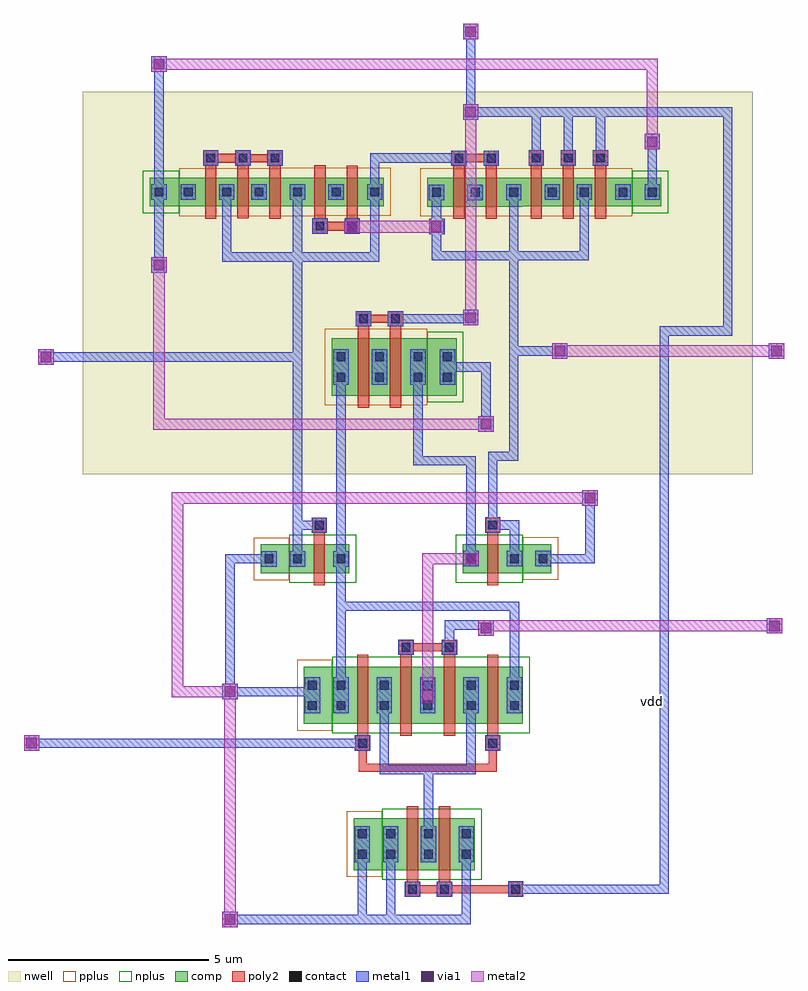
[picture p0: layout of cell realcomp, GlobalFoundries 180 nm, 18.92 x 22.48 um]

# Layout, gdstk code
from math import pi, radians
import gdstk
lib = gdstk.Library(unit=1e-6, precision=5e-09)
def R(c, l, rs):  # rectangles x0, y0, x1, y1
    for r in rs: c.add(gdstk.rectangle(r[:2], r[2:], *l))
def A(c, l, x, y, w, h, nx, ny, dx, dy):  # array of equal rectangles
    R(c, l, [(x+i*dx, y+j*dy, x+i*dx+w, y+j*dy+h) for i in range(nx) for j in range(ny)])
nwell = (21, 0)
comp = (22, 0)
poly2 = (30, 0)
pplus = (31, 0)
nplus = (32, 0)
contact = (33, 0)
metal1 = (34, 0)
via1 = (35, 0)
metal2 = (36, 0)

pfet = lib.new_cell('pfet')
R(pfet, nwell, [(-0.9,-0.44,2.36,1.155)])
R(pfet, comp, [(-0.46,0,0,0.715), (0,0,1.46,0.715), (1.46,0,1.92,0.715)])
R(pfet, poly2, [(0.14,-0.68,0.52,-0.3), (0.94,-0.68,1.32,-0.3), (0.19,-0.3,0.47,1.015), (0.99,-0.3,1.27,1.01)])
R(pfet, pplus, [(-0.63,-0.24,2.09,0.955)])
A(pfet, contact, -0.34, 0.245, 0.22, 0.22, 3, 1, 0.96, 0)
R(pfet, contact, [(0.22,-0.6,0.44,-0.38), (1.02,-0.6,1.24,-0.38)])
A(pfet, metal1, -0.42, 0.165, 0.38, 0.385, 3, 1, 0.96, 0)
R(pfet, metal1, [(0.14,-0.68,0.52,-0.3), (0.94,-0.68,1.32,-0.3)])

nfet_4 = lib.new_cell('nfet$4')
R(nfet_4, comp, [(-0.42,0,0,0.715), (0,0,0.66,0.715), (0.66,0,1.08,0.715), (1.08,0,1.79,0.715)])
R(nfet_4, poly2, [(0.15,-0.66,0.51,-0.3), (0.19,-0.3,0.47,1.015)])
R(nfet_4, pplus, [(1.08,-0.17,1.96,0.885)])
R(nfet_4, nplus, [(-0.59,-0.24,1.08,0.955)])
R(nfet_4, contact, [(0.22,-0.59,0.44,-0.37), (-0.32,0.245,-0.1,0.465), (0.76,0.245,0.98,0.465), (1.47,0.245,1.69,0.465)])
R(nfet_4, metal1, [(0.14,-0.67,0.52,-0.29), (-0.4,0.165,-0.02,0.55), (0.68,0.165,1.06,0.55), (1.39,0.165,1.77,0.55)])

nfet = lib.new_cell('nfet')
R(nfet, comp, [(-0.42,0,0,1.425), (0,0,0.66,1.425), (0.66,0,1.08,1.425)])
R(nfet, poly2, [(0.15,-0.66,0.51,-0.3), (0.19,-0.3,0.47,1.725)])
R(nfet, nplus, [(-0.59,-0.24,1.25,1.665)])
R(nfet, contact, [(0.22,-0.59,0.44,-0.37), (-0.32,0.35,-0.1,0.57), (0.76,0.35,0.98,0.57), (-0.32,0.86,-0.1,1.08), (0.76,0.86,0.98,1.08)])
R(nfet, metal1, [(0.14,-0.67,0.52,-0.29), (-0.4,0.27,-0.02,1.16), (0.68,0.27,1.06,1.16)])

nfet_9 = lib.new_cell('nfet$9')
R(nfet_9, comp, [(-0.42,0,0,0.715), (0,0,0.66,0.715), (0.66,0,1.08,0.715), (1.08,0,1.79,0.715)])
R(nfet_9, poly2, [(0.19,-0.3,0.47,1.015), (0.15,1.015,0.51,1.375)])
R(nfet_9, pplus, [(1.08,-0.17,1.96,0.885)])
R(nfet_9, nplus, [(-0.59,-0.24,1.08,0.955)])
R(nfet_9, contact, [(-0.32,0.245,-0.1,0.465), (0.76,0.245,0.98,0.465), (1.47,0.245,1.69,0.465), (0.22,1.085,0.44,1.305)])
R(nfet_9, metal1, [(-0.4,0.165,-0.02,0.55), (0.68,0.165,1.06,0.55), (1.39,0.165,1.77,0.55), (0.14,1,0.52,1.385)])

nfet_6 = lib.new_cell('nfet$6')
R(nfet_6, comp, [(-0.42,0,0,1.425), (0,0,0.66,1.425), (0.66,0,1.08,1.425), (1.08,0,1.79,1.425)])
R(nfet_6, poly2, [(0.19,-0.3,0.47,1.725), (0.15,1.725,0.51,2.085)])
R(nfet_6, pplus, [(1.08,-0.17,1.96,1.595)])
R(nfet_6, nplus, [(-0.59,-0.24,1.08,1.665)])
R(nfet_6, contact, [(-0.32,0.35,-0.1,0.57), (0.76,0.35,0.98,0.57), (1.47,0.35,1.69,0.57), (-0.32,0.86,-0.1,1.08), (0.76,0.86,0.98,1.08), (1.47,0.86,1.69,1.08), (0.22,1.795,0.44,2.015)])
R(nfet_6, metal1, [(-0.4,0.27,-0.02,1.16), (0.68,0.27,1.06,1.16), (1.39,0.27,1.77,1.16), (0.14,1.715,0.52,2.095)])

nfet_1 = lib.new_cell('nfet$1')
R(nfet_1, comp, [(-0.42,0,0,1.425), (0,0,0.66,1.425), (0.66,0,1.08,1.425)])
R(nfet_1, poly2, [(0.19,-0.3,0.47,1.725), (0.15,1.725,0.51,2.085)])
R(nfet_1, nplus, [(-0.59,-0.24,1.25,1.665)])
R(nfet_1, contact, [(-0.32,0.35,-0.1,0.57), (0.76,0.35,0.98,0.57), (-0.32,0.86,-0.1,1.08), (0.76,0.86,0.98,1.08), (0.22,1.795,0.44,2.015)])
R(nfet_1, metal1, [(-0.4,0.27,-0.02,1.16), (0.68,0.27,1.06,1.16), (0.14,1.715,0.52,2.095)])

nfet_7 = lib.new_cell('nfet$7')
R(nfet_7, comp, [(-0.42,0,0,1.29), (0,0,1.46,1.29), (1.46,0,1.88,1.29), (1.88,0,2.59,1.29)])
R(nfet_7, poly2, [(0.19,-0.3,0.47,1.59), (0.99,-0.3,1.27,1.59), (0.15,1.59,0.51,1.95), (0.95,1.59,1.31,1.95)])
R(nfet_7, pplus, [(1.88,-0.17,2.76,1.46)])
R(nfet_7, nplus, [(-0.59,-0.24,1.88,1.53)])
A(nfet_7, contact, -0.32, 0.28, 0.22, 0.22, 3, 2, 0.94, 0.51)
R(nfet_7, contact, [(2.27,0.28,2.49,0.5), (2.27,0.79,2.49,1.01), (0.22,1.66,0.44,1.88), (1.02,1.66,1.24,1.88)])
A(nfet_7, metal1, -0.4, 0.2, 0.38, 0.89, 3, 1, 0.94, 0)
R(nfet_7, metal1, [(2.19,0.2,2.57,1.09), (0.14,1.575,0.52,1.96), (0.94,1.575,1.32,1.96)])

pfet_3 = lib.new_cell('pfet$3')
R(pfet_3, nwell, [(-1.15,-0.69,3.34,2.115)])
R(pfet_3, comp, [(-0.46,0,0,1.425), (0,0,1.46,1.425), (1.46,0,1.92,1.425), (1.92,0,2.65,1.425)])
R(pfet_3, poly2, [(0.19,-0.3,0.47,1.725), (0.99,-0.3,1.27,1.725), (0.14,1.725,0.52,2.105), (0.94,1.725,1.32,2.105)])
R(pfet_3, pplus, [(-0.63,-0.24,1.92,1.665)])
R(pfet_3, nplus, [(1.92,-0.17,2.82,1.595)])
A(pfet_3, contact, -0.34, 0.35, 0.22, 0.22, 3, 2, 0.96, 0.51)
R(pfet_3, contact, [(2.31,0.35,2.53,0.57), (2.31,0.86,2.53,1.08), (0.22,1.805,0.44,2.025), (1.02,1.805,1.24,2.025)])
A(pfet_3, metal1, -0.42, 0.27, 0.38, 0.89, 3, 1, 0.96, 0)
R(pfet_3, metal1, [(2.23,0.27,2.61,1.16), (0.14,1.725,0.52,2.105), (0.94,1.725,1.32,2.105)])

pfet_1 = lib.new_cell('pfet$1')
R(pfet_1, nwell, [(-1.15,-0.69,4.14,1.405)])
R(pfet_1, comp, [(-0.46,0,0,0.715), (0,0,2.26,0.715), (2.26,0,2.72,0.715), (2.72,0,3.45,0.715)])
A(pfet_1, poly2, 0.14, 1.015, 0.38, 0.38, 3, 1, 0.8, 0)
R(pfet_1, poly2, [(0.19,-0.3,0.47,1.015), (0.99,-0.3,1.27,1.01), (1.79,-0.3,2.07,1.015)])
R(pfet_1, pplus, [(-0.63,-0.24,2.72,0.955)])
R(pfet_1, nplus, [(2.72,-0.17,3.62,0.885)])
A(pfet_1, contact, 0.22, 1.095, 0.22, 0.22, 3, 1, 0.8, 0)
R(pfet_1, contact, [(-0.34,0.245,-0.12,0.465), (0.62,0.245,0.84,0.465), (1.42,0.245,1.64,0.465), (2.38,0.245,2.6,0.465), (3.11,0.245,3.33,0.465)])
A(pfet_1, metal1, 0.14, 1.01, 0.38, 0.385, 3, 1, 0.8, 0)
R(pfet_1, metal1, [(-0.42,0.165,-0.04,0.55), (0.54,0.165,0.92,0.55), (1.34,0.165,1.72,0.55), (2.3,0.165,2.68,0.55), (3.03,0.165,3.41,0.55)])

pfet_12 = lib.new_cell('pfet$12')
R(pfet_12, nwell, [(-1.15,-0.69,4.14,1.405)])
R(pfet_12, comp, [(-0.46,0,0,0.715), (0,0,2.26,0.715), (2.26,0,2.72,0.715), (2.72,0,3.45,0.715)])
A(pfet_12, poly2, 0.14, -0.68, 0.38, 0.38, 3, 1, 0.8, 0)
R(pfet_12, poly2, [(0.19,-0.3,0.47,1.015), (0.99,-0.3,1.27,1.01), (1.79,-0.3,2.07,1.015)])
R(pfet_12, pplus, [(-0.63,-0.24,2.72,0.955)])
R(pfet_12, nplus, [(2.72,-0.17,3.62,0.885)])
A(pfet_12, contact, 0.22, -0.6, 0.22, 0.22, 3, 1, 0.8, 0)
R(pfet_12, contact, [(-0.34,0.245,-0.12,0.465), (0.62,0.245,0.84,0.465), (1.42,0.245,1.64,0.465), (2.38,0.245,2.6,0.465), (3.11,0.245,3.33,0.465)])
A(pfet_12, metal1, 0.14, -0.68, 0.38, 0.38, 3, 1, 0.8, 0)
R(pfet_12, metal1, [(-0.42,0.165,-0.04,0.55), (0.54,0.165,0.92,0.55), (1.34,0.165,1.72,0.55), (2.3,0.165,2.68,0.55), (3.03,0.165,3.41,0.55)])

realcomp = lib.new_cell('realcomp')
R(realcomp, nwell, [(1.16,10.72,17.84,20.24)])
R(realcomp, poly2, [(11.76,0.215,12.12,0.575), (13.11,18.4,13.39,18.405)])
R(realcomp, contact, [(11.83,0.285,12.05,0.505), (13.54,17.635,13.76,17.855), (13.54,17.635,13.76,17.855)])
R(realcomp, metal1, [(4.64,-0.55,5.02,-0.165), (11.75,0.205,12.13,0.59), (-0.3,3.84,0.08,4.225), (-0.3,3.84,0.08,4.225), (4.64,5.12,5.02,5.505), (4.64,5.12,5.02,5.505), (4.64,5.12,5.02,5.505), (4.64,5.12,5.02,5.505), (11.01,6.705,11.39,7.09), (18.195,6.76,18.575,7.145), (13.6,9.94,13.98,10.325), (13.6,9.94,13.98,10.325), (11.01,11.78,11.39,12.165), (0.06,13.45,0.44,13.835), (12.85,13.6,13.23,13.985), (18.24,13.6,18.62,13.985), (10.63,14.43,11.01,14.815), (2.87,15.74,3.25,16.125), (2.87,15.74,3.25,16.125), (9.79,16.7,10.17,17.08), (15.15,18.81,15.53,19.195), (15.15,18.81,15.53,19.195), (10.63,19.55,11.01,19.935), (2.87,20.74,3.25,21.125), (2.87,20.74,3.25,21.125), (10.63,21.55,11.01,21.935)])
R(realcomp, via1, [(4.7,-0.49,4.96,-0.23), (-0.24,3.9,0.02,4.16), (-0.24,3.9,0.02,4.16), (9.62,5.09,9.88,5.35), (4.7,5.18,4.96,5.44), (4.7,5.18,4.96,5.44), (4.7,5.18,4.96,5.44), (4.7,5.18,4.96,5.44), (11.07,6.765,11.33,7.025), (18.255,6.82,18.515,7.08), (10.7,8.49,10.96,8.75), (13.66,10,13.92,10.26), (13.66,10,13.92,10.26), (11.07,11.84,11.33,12.1), (0.12,13.51,0.38,13.77), (12.91,13.66,13.17,13.92), (18.3,13.66,18.56,13.92), (10.69,14.49,10.95,14.75), (2.93,15.8,3.19,16.06), (2.93,15.8,3.19,16.06), (9.83,16.76,10.09,17.02), (7.735,16.765,7.995,17.025), (15.21,18.87,15.47,19.13), (15.21,18.87,15.47,19.13), (10.69,19.61,10.95,19.87), (2.93,20.8,3.19,21.06), (2.93,20.8,3.19,21.06), (10.69,21.61,10.95,21.87)])
R(realcomp, metal2, [(4.64,-0.55,5.02,-0.165), (-0.3,3.84,0.08,4.225), (-0.3,3.84,0.08,4.225), (4.64,5.12,5.02,5.505), (4.64,5.12,5.02,5.505), (4.64,5.12,5.02,5.505), (4.64,5.12,5.02,5.505), (11.01,6.705,11.39,7.09), (18.195,6.76,18.575,7.145), (13.6,9.94,13.98,10.325), (13.6,9.94,13.98,10.325), (11.01,11.78,11.39,12.165), (0.06,13.45,0.44,13.835), (12.85,13.6,13.23,13.985), (18.24,13.6,18.62,13.985), (10.63,14.43,11.01,14.815), (2.87,15.74,3.25,16.125), (2.87,15.74,3.25,16.125), (15.15,18.81,15.53,19.195), (15.15,18.81,15.53,19.195), (10.63,19.55,11.01,19.935), (2.87,20.74,3.25,21.125), (2.87,20.74,3.25,21.125), (10.63,21.55,11.01,21.935)])
realcomp.add(gdstk.FlexPath([(7.59,8.58),(7.59,13.44)], 0.23, ends="flush", simple_path=True, layer=34, datatype=0))  # metal1
realcomp.add(gdstk.FlexPath([(10.83,8.62),(10.83,11.06),(9.51,11.06),(9.51,13.395)], 0.23, ends="flush", simple_path=True, layer=34, datatype=0))  # metal1
realcomp.add(gdstk.FlexPath([(4.75,17.75),(4.75,16.13),(8.43,16.13),(8.43,17.745)], 0.23, ends="flush", simple_path=True, layer=34, datatype=0))  # metal1
realcomp.add(gdstk.FlexPath([(6.51,8.62),(6.51,17.75)], 0.23, ends="flush", simple_path=True, layer=34, datatype=0))  # metal1
realcomp.add(gdstk.FlexPath([(9.97,17.88),(9.97,16.16),(13.65,16.16),(13.65,17.87)], 0.23, ends="flush", simple_path=True, layer=34, datatype=0))  # metal1
realcomp.add(gdstk.FlexPath([(8.43,17.745),(8.43,18.595),(10.53,18.595)], 0.23, ends="flush", simple_path=True, layer=34, datatype=0))  # metal1
realcomp.add(gdstk.FlexPath([(11.37,9.455),(11.37,11.17),(11.89,11.17),(11.89,17.745)], 0.23, ends="flush", simple_path=True, layer=34, datatype=0))  # metal1
realcomp.add(gdstk.FlexPath([(8.83,1.515),(8.83,-0.36),(10.71,-0.36),(10.71,1.515)], 0.23, ends="flush", simple_path=True, layer=34, datatype=0))  # metal1
realcomp.add(gdstk.FlexPath([(7.59,5.22),(7.59,8.73)], 0.23, ends="flush", simple_path=True, layer=34, datatype=0))  # metal1
realcomp.add(gdstk.FlexPath([(4.83,-0.36),(8.83,-0.36)], 0.23, ends="flush", simple_path=True, layer=34, datatype=0))  # metal1
realcomp.add(gdstk.FlexPath([(11.91,8.62),(11.91,9.46),(11.37,9.46)], 0.23, ends="flush", simple_path=True, layer=34, datatype=0))  # metal1
realcomp.add(gdstk.FlexPath([(13.04,13.79),(11.89,13.79)], 0.23, ends="flush", simple_path=True, layer=34, datatype=0))  # metal1
realcomp.add(gdstk.FlexPath([(0.25,13.64),(6.51,13.64)], 0.23, ends="flush", simple_path=True, layer=34, datatype=0))  # metal1
realcomp.add(gdstk.FlexPath([(10.29,6.415),(10.29,6.97),(11.24,6.97)], 0.23, ends="flush", simple_path=True, layer=34, datatype=0))  # metal1
realcomp.add(gdstk.FlexPath([(8.13,4.03),(-0.11,4.03)], 0.23, ends="flush", simple_path=True, layer=34, datatype=0))  # metal1
realcomp.add(gdstk.FlexPath([(8.95,14.595),(10.85,14.595)], 0.23, ends="flush", simple_path=True, layer=34, datatype=0))  # metal1
realcomp.add(gdstk.FlexPath([(11.94,0.395),(15.64,0.395),(15.64,14.29),(17.22,14.29),(17.22,19.74),(10.82,19.74),(10.82,19.74)], 0.23, ends="flush", simple_path=True, layer=34, datatype=0))  # metal1
realcomp.add(gdstk.FlexPath([(12.45,18.595),(12.45,19.74)], 0.23, ends="flush", simple_path=True, layer=34, datatype=0))  # metal1
realcomp.add(gdstk.FlexPath([(13.25,18.595),(13.25,19.74)], 0.23, ends="flush", simple_path=True, layer=34, datatype=0))  # metal1
realcomp.add(gdstk.FlexPath([(14.05,18.595),(14.05,19.74)], 0.23, ends="flush", simple_path=True, layer=34, datatype=0))  # metal1
realcomp.add(gdstk.FlexPath([(10.24,13.395),(11.2,13.395),(11.2,11.97)], 0.23, ends="flush", simple_path=True, layer=34, datatype=0))  # metal1
realcomp.add(gdstk.FlexPath([(15.34,17.745),(15.34,19)], 0.23, ends="flush", simple_path=True, layer=34, datatype=0))  # metal1
realcomp.add(gdstk.FlexPath([(3.06,15.93),(3.06,17.75)], 0.23, ends="flush", simple_path=True, layer=34, datatype=0))  # metal1
realcomp.add(gdstk.FlexPath([(3.06,17.75),(3.06,20.93)], 0.23, ends="flush", simple_path=True, layer=34, datatype=0))  # metal1
realcomp.add(gdstk.FlexPath([(10.82,19.74),(10.82,21.7)], 0.23, ends="flush", simple_path=True, layer=34, datatype=0))  # metal1
realcomp.add(gdstk.FlexPath([(4.83,5.31),(6.89,5.31)], 0.23, ends="flush", simple_path=True, layer=34, datatype=0))  # metal1
realcomp.add(gdstk.FlexPath([(4.83,5.31),(4.83,8.62),(5.8,8.62)], 0.23, ends="flush", simple_path=True, layer=34, datatype=0))  # metal1
realcomp.add(gdstk.FlexPath([(8.12,1.515),(8.12,-0.36)], 0.23, ends="flush", simple_path=True, layer=34, datatype=0))  # metal1
realcomp.add(gdstk.FlexPath([(12.62,8.62),(13.79,8.62),(13.79,10.13)], 0.23, ends="flush", simple_path=True, layer=34, datatype=0))  # metal1
realcomp.add(gdstk.FlexPath([(9.77,1.515),(9.77,3.37)], 0.23, ends="flush", simple_path=True, layer=34, datatype=0))  # metal1
realcomp.add(gdstk.FlexPath([(8.67,5.475),(8.67,3.37),(10.83,3.37),(10.83,5.475)], 0.23, ends="flush", simple_path=True, layer=34, datatype=0))  # metal1
realcomp.add(gdstk.FlexPath([(11.91,5.15),(11.91,7.44),(7.56,7.44)], 0.23, ends="flush", simple_path=True, layer=34, datatype=0))  # metal1
realcomp.add(gdstk.FlexPath([(7.05,9.455),(6.5,9.455)], 0.23, ends="flush", simple_path=True, layer=34, datatype=0))  # metal1
realcomp.add(gdstk.FlexPath([(8.13,4.03),(8.13,3.42),(11.37,3.42),(11.37,4.03)], 0.2, ends="flush", simple_path=True, layer=30, datatype=0))  # poly2
realcomp.add(gdstk.FlexPath([(5.12,18.59),(4.35,18.59)], 0.23, ends="flush", simple_path=True, layer=30, datatype=0))  # poly2
realcomp.add(gdstk.FlexPath([(5.2,18.59),(5.93,18.59)], 0.2, ends="flush", simple_path=True, layer=30, datatype=0))  # poly2
realcomp.add(gdstk.FlexPath([(9.37,0.395),(10.17,0.395)], 0.2, ends="flush", simple_path=True, layer=30, datatype=0))  # poly2
realcomp.add(gdstk.FlexPath([(8.15,14.595),(8.95,14.595)], 0.2, ends="flush", simple_path=True, layer=30, datatype=0))  # poly2
realcomp.add(gdstk.FlexPath([(10.17,0.395),(11.94,0.395)], 0.2, ends="flush", simple_path=True, layer=30, datatype=0))  # poly2
realcomp.add(gdstk.FlexPath([(7.07,16.9),(7.87,16.9)], 0.23, ends="flush", simple_path=True, layer=30, datatype=0))  # poly2
realcomp.add(gdstk.FlexPath([(11.33,18.595),(10.53,18.595)], 0.22, ends="flush", simple_path=True, layer=30, datatype=0))  # poly2
realcomp.add(gdstk.FlexPath([(9.21,6.415),(10.29,6.415),(10.29,6.415)], 0.2, ends="flush", simple_path=True, layer=30, datatype=0))  # poly2
realcomp.add(gdstk.FlexPath([(9.75,5.03),(9.75,8.62),(11.02,8.62)], 0.28, ends="flush", simple_path=True, layer=36, datatype=0))  # metal2
realcomp.add(gdstk.FlexPath([(7.675,16.89),(10.15,16.89)], 0.3, ends="flush", simple_path=True, layer=36, datatype=0))  # metal2
realcomp.add(gdstk.FlexPath([(11.2,6.95),(18.385,6.95)], 0.28, ends="flush", simple_path=True, layer=36, datatype=0))  # metal2
realcomp.add(gdstk.FlexPath([(10.82,14.62),(10.82,19.74)], 0.28, ends="flush", simple_path=True, layer=36, datatype=0))  # metal2
realcomp.add(gdstk.FlexPath([(13.04,13.79),(18.43,13.79)], 0.28, ends="flush", simple_path=True, layer=36, datatype=0))  # metal2
realcomp.add(gdstk.FlexPath([(15.34,19),(15.34,20.93),(3,20.93)], 0.28, ends="flush", simple_path=True, layer=36, datatype=0))  # metal2
realcomp.add(gdstk.FlexPath([(11.2,11.97),(3.06,11.97),(3.06,15.93)], 0.28, ends="flush", simple_path=True, layer=36, datatype=0))  # metal2
realcomp.add(gdstk.FlexPath([(4.83,5.31),(4.83,-0.36)], 0.28, ends="flush", simple_path=True, layer=36, datatype=0))  # metal2
realcomp.add(gdstk.FlexPath([(13.79,10.13),(3.52,10.13),(3.52,5.31),(4.83,5.31)], 0.28, ends="flush", simple_path=True, layer=36, datatype=0))  # metal2
realcomp.add(gdstk.Reference(pfet, (6.74,17.395)))
realcomp.add(gdstk.Reference(nfet_4, (7.38,8.975), rotation=pi))
realcomp.add(gdstk.Reference(nfet, (9.54,5.935), rotation=pi))
realcomp.add(gdstk.Reference(nfet_9, (11.04,8.265)))
realcomp.add(gdstk.Reference(nfet_6, (8.46,5.935), rotation=pi))
realcomp.add(gdstk.Reference(nfet_1, (11.7,5.935), rotation=pi))
realcomp.add(gdstk.Reference(nfet, (10.62,5.935), rotation=pi))
realcomp.add(gdstk.Reference(nfet_7, (10.5,2.16), rotation=pi))
realcomp.add(gdstk.Reference(pfet_3, (7.82,12.68)))
realcomp.add(gdstk.Reference(pfet_1, (12.12,17.39)))
realcomp.add(gdstk.Reference(pfet, (11.66,18.1), rotation=pi))
realcomp.add(gdstk.Reference(pfet_12, (6.28,18.105), rotation=pi))
realcomp.add(gdstk.Label('clk', (22.765,5.475), layer=34, texttype=10))
realcomp.add(gdstk.Label('inp', (12.305,-11.835), layer=34, texttype=10))
realcomp.add(gdstk.Label('outp', (12.53,-2.22), layer=34, texttype=10))
realcomp.add(gdstk.Label('outn', (29.915,-2.075), layer=34, texttype=10))
realcomp.add(gdstk.Label('vss', (17.15,-16.24), layer=34, texttype=10))
realcomp.add(gdstk.Label('inp', (29.885,-9.01), layer=36, texttype=10))
realcomp.add(gdstk.Label('vdd', (15.34,5.07), layer=36, texttype=10))

lib.write_gds('realcomp.gds')
